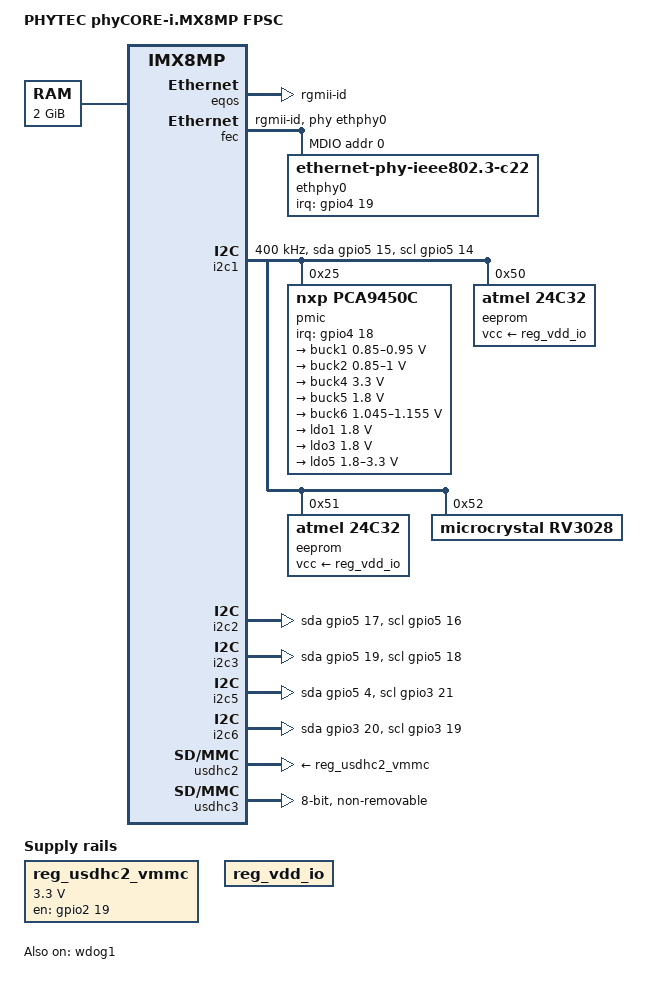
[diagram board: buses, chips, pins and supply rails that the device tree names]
// SPDX-License-Identifier: (GPL-2.0-or-later OR MIT)
/*
 * Copyright (C) 2025 PHYTEC Messtechnik GmbH
 */

#include <dt-bindings/net/ti-dp83867.h>
#include "imx8mp.dtsi"

/ {
	model = "PHYTEC phyCORE-i.MX8MP FPSC";
	compatible = "phytec,imx8mp-phycore-fpsc", "fsl,imx8mp";

	aliases {
		rtc0 = &rv3028;
		rtc1 = &snvs_rtc;
	};

	memory@40000000 {
		device_type = "memory";
		reg = <0x0 0x40000000 0x0 0x80000000>;
	};

	reg_usdhc2_vmmc: regulator-usdhc2 {
		 compatible = "regulator-fixed";
		 pinctrl-names = "default";
		 pinctrl-0 = <&pinctrl_reg_usdhc2_vmmc>;
		 regulator-name = "VDDSW_SD2";
		 regulator-min-microvolt = <3300000>;
		 regulator-max-microvolt = <3300000>;
		 gpio = <&gpio2 19 GPIO_ACTIVE_HIGH>;
		 enable-active-high;
		 startup-delay-us = <100>;
		 off-on-delay-us = <12000>;
	 };

	reg_vdd_io: regulator-vdd-io {
		compatible = "regulator-fixed";
		regulator-always-on;
		regulator-boot-on;
		regulator-name = "VDD_IO";
	};
};

&A53_0 {
	cpu-supply = <&buck2>;
};

&A53_1 {
	cpu-supply = <&buck2>;
};

&A53_2 {
	cpu-supply = <&buck2>;
};

&A53_3 {
	cpu-supply = <&buck2>;
};

&ecspi1 { /* SPI1 */
	pinctrl-names = "default";
	pinctrl-0 = <&pinctrl_ecspi1>;
};

&ecspi2 { /* SPI2 */
	pinctrl-names = "default";
	pinctrl-0 = <&pinctrl_ecspi2>;
};

&ecspi3 { /* SPI3 */
	pinctrl-names = "default";
	pinctrl-0 = <&pinctrl_ecspi3>;
};

&eqos { /* RGMII2 */
	pinctrl-names = "default";
	pinctrl-0 = <&pinctrl_eqos>;
	phy-mode = "rgmii-id";
};

&fec { /* GB_ETH1 */
	pinctrl-names = "default";
	pinctrl-0 = <&pinctrl_fec>;
	phy-handle = <&ethphy0>;
	phy-mode = "rgmii-id";
	fsl,magic-packet;
	status = "okay";

	mdio {
		#address-cells = <1>;
		#size-cells = <0>;

		ethphy0: ethernet-phy@0 {
			compatible = "ethernet-phy-ieee802.3-c22";
			reg = <0>;
			enet-phy-lane-no-swap;
			interrupt-parent = <&gpio4>;
			interrupts = <19 IRQ_TYPE_LEVEL_LOW>;
			ti,clk-output-sel = <DP83867_CLK_O_SEL_OFF>;
			ti,fifo-depth = <DP83867_PHYCR_FIFO_DEPTH_4_B_NIB>;
			ti,min-output-impedance;
			ti,rx-internal-delay = <DP83867_RGMIIDCTL_1_50_NS>;
			ti,tx-internal-delay = <DP83867_RGMIIDCTL_1_50_NS>;
		};
	};
};

&flexcan1 { /* CAN1 */
	pinctrl-names = "default";
	pinctrl-0 = <&pinctrl_flexcan1>;
};

&flexcan2 { /* CAN2 */
	pinctrl-names = "default";
	pinctrl-0 = <&pinctrl_flexcan2>;
};

&flexspi { /* QSPI */
	pinctrl-names = "default";
	pinctrl-0 = <&pinctrl_flexspi>;
};

&gpio1 {
	gpio-line-names = "", "", "", "", "",
			  "", "", "", "PCIE1_nPERST";
};

&gpio2 {
	gpio-line-names = "", "", "", "", "",
			  "", "", "", "", "",
			  "", "", "", "", "",
			  "", "", "", "", "SD2_RESET_B";
};

&gpio3 {
	gpio-line-names = "", "", "", "", "",
			  "", "", "", "", "",
			  "", "", "", "", "",
			  "", "", "", "", "I2C6_SCL",
			  "I2C6_SDA", "I2C5_SCL";
};

&gpio4 { /* GPIO */
	pinctrl-names = "default";
	pinctrl-0 = <&pinctrl_gpio4>;
	gpio-line-names = "GPIO6", "RGMII2_nINT", "GPIO7", "GPIO4", "",
			  "", "", "", "", "",
			  "", "", "", "", "",
			  "", "", "", "X_PMIC_IRQ_B", "",
			  "", "GPIO5", "", "", "RGMII2_EVENT_OUT",
			  "", "", "RGMII2_EVENT_IN";
};

&gpio5 { /* GPIO */
	pinctrl-names = "default";
	pinctrl-0 = <&pinctrl_gpio5>;
	gpio-line-names = "", "", "", "", "I2C5_SDA",
			  "GPIO1", "", "", "", "SPI1_CS",
			  "", "", "", "SPI2_CS", "I2C1_SCL",
			  "I2C1_SDA", "I2C2_SCL", "I2C2_SDA", "I2C3_SCL", "I2C3_SDA",
			  "", "GPIO2", "", "", "SPI3_CS",
			  "", "GPIO3";
};

&i2c1 { /* I2C1 */
	clock-frequency = <400000>;
	pinctrl-names = "default", "gpio";
	pinctrl-0 = <&pinctrl_i2c1>;
	pinctrl-1 = <&pinctrl_i2c1_gpio>;
	scl-gpios = <&gpio5 14 (GPIO_ACTIVE_HIGH | GPIO_OPEN_DRAIN)>;
	sda-gpios = <&gpio5 15 (GPIO_ACTIVE_HIGH | GPIO_OPEN_DRAIN)>;
	status = "okay";

	pmic: pmic@25 {
		compatible = "nxp,pca9450c";
		reg = <0x25>;
		interrupts = <18 IRQ_TYPE_LEVEL_LOW>;
		interrupt-parent = <&gpio4>;
		pinctrl-names = "default";
		pinctrl-0 = <&pinctrl_pmic>;

		regulators {
			buck1: BUCK1 {
				regulator-always-on;
				regulator-boot-on;
				regulator-max-microvolt = <950000>;
				regulator-min-microvolt = <850000>;
				regulator-name = "VDD_SOC (BUCK1)";
				regulator-ramp-delay = <3125>;
			};

			buck2: BUCK2 {
				regulator-always-on;
				regulator-boot-on;
				regulator-max-microvolt = <1000000>;
				regulator-min-microvolt = <850000>;
				regulator-name = "VDD_ARM (BUCK2)";
				regulator-ramp-delay = <3125>;
				nxp,dvs-run-voltage = <950000>;
				nxp,dvs-standby-voltage = <850000>;
			};

			buck4: BUCK4 {
				regulator-always-on;
				regulator-boot-on;
				regulator-max-microvolt = <3300000>;
				regulator-min-microvolt = <3300000>;
				regulator-name = "VDD_3V3 (BUCK4)";
			};

			buck5: BUCK5 {
				regulator-always-on;
				regulator-boot-on;
				regulator-max-microvolt = <1800000>;
				regulator-min-microvolt = <1800000>;
				regulator-name = "VDD_1V8 (BUCK5)";
			};

			buck6: BUCK6 {
				regulator-always-on;
				regulator-boot-on;
				regulator-max-microvolt = <1155000>;
				regulator-min-microvolt = <1045000>;
				regulator-name = "NVCC_DRAM_1V1 (BUCK6)";
			};

			ldo1: LDO1 {
				regulator-always-on;
				regulator-boot-on;
				regulator-max-microvolt = <1800000>;
				regulator-min-microvolt = <1800000>;
				regulator-name = "NVCC_SNVS_1V8 (LDO1)";
			};

			ldo3: LDO3 {
				regulator-always-on;
				regulator-boot-on;
				regulator-max-microvolt = <1800000>;
				regulator-min-microvolt = <1800000>;
				regulator-name = "VDDA_1V8 (LDO3)";
			};

			ldo5: LDO5 {
				regulator-always-on;
				regulator-boot-on;
				regulator-max-microvolt = <3300000>;
				regulator-min-microvolt = <1800000>;
				regulator-name = "NVCC_SD2 (LDO5)";
			};
		};
	};

	/* User EEPROM */
	eeprom@50 {
		compatible = "atmel,24c32";
		reg = <0x50>;
		pagesize = <32>;
		vcc-supply = <&reg_vdd_io>;
	};

	/* factory EEPROM */
	eeprom@51 {
		compatible = "atmel,24c32";
		read-only;
		reg = <0x51>;
		pagesize = <32>;
		vcc-supply = <&reg_vdd_io>;
	};

	rv3028: rtc@52 {
		compatible = "microcrystal,rv3028";
		reg = <0x52>;
	};
};

&i2c2 { /* I2C2 */
	pinctrl-names = "default", "gpio";
	pinctrl-0 = <&pinctrl_i2c2>;
	pinctrl-1 = <&pinctrl_i2c2_gpio>;
	sda-gpios = <&gpio5 17 (GPIO_ACTIVE_HIGH | GPIO_OPEN_DRAIN)>;
	scl-gpios = <&gpio5 16 (GPIO_ACTIVE_HIGH | GPIO_OPEN_DRAIN)>;
};

&i2c3 { /* I2C3 */
	pinctrl-names = "default", "gpio";
	pinctrl-0 = <&pinctrl_i2c3>;
	pinctrl-1 = <&pinctrl_i2c3_gpio>;
	sda-gpios = <&gpio5 19 (GPIO_ACTIVE_HIGH | GPIO_OPEN_DRAIN)>;
	scl-gpios = <&gpio5 18 (GPIO_ACTIVE_HIGH | GPIO_OPEN_DRAIN)>;
};

&i2c5 { /* I2C4 */
	pinctrl-names = "default", "gpio";
	pinctrl-0 = <&pinctrl_i2c5>;
	pinctrl-1 = <&pinctrl_i2c5_gpio>;
	sda-gpios = <&gpio5 4 (GPIO_ACTIVE_HIGH | GPIO_OPEN_DRAIN)>;
	scl-gpios = <&gpio3 21 (GPIO_ACTIVE_HIGH | GPIO_OPEN_DRAIN)>;
};

&i2c6 { /* I2C5 */
	pinctrl-names = "default", "gpio";
	pinctrl-0 = <&pinctrl_i2c6>;
	pinctrl-1 = <&pinctrl_i2c6_gpio>;
	sda-gpios = <&gpio3 20 (GPIO_ACTIVE_HIGH | GPIO_OPEN_DRAIN)>;
	scl-gpios = <&gpio3 19 (GPIO_ACTIVE_HIGH | GPIO_OPEN_DRAIN)>;
};

&pcie { /* PCIE1 */
	pinctrl-names = "default";
	pinctrl-0 = <&pinctrl_pcie0>;
};

&pwm1 { /* PWM1 */
	pinctrl-names = "default";
	pinctrl-0 = <&pinctrl_pwm1>;
};

&pwm2 { /* PWM2 */
	pinctrl-names = "default";
	pinctrl-0 = <&pinctrl_pwm2>;
};

&pwm3 { /* PWM3 */
	pinctrl-names = "default";
	pinctrl-0 = <&pinctrl_pwm3>;
};

&pwm4 { /* PWM4 */
	pinctrl-names = "default";
	pinctrl-0 = <&pinctrl_pwm4>;
};

&sai5 { /* SAI1 */
	pinctrl-names = "default";
	pinctrl-0 = <&pinctrl_sai5>;
};

&uart2 { /* UART2 */
	pinctrl-names = "default";
	fsl,dte-mode;
	pinctrl-0 = <&pinctrl_uart2>;
};

&uart3 { /* UART1 */
	pinctrl-names = "default";
	fsl,dte-mode;
	pinctrl-0 = <&pinctrl_uart3>;
};

&uart4 { /* UART3 */
	pinctrl-names = "default";
	pinctrl-0 = <&pinctrl_uart4>;
};

&usb3_0 { /* USB1 */
	pinctrl-names = "default";
	pinctrl-0 = <&pinctrl_usb0>;
};

&usb3_1 { /* USB2 */
	pinctrl-names = "default";
	pinctrl-0 = <&pinctrl_usb1>;
};

&usdhc1 { /* SDIO */
	pinctrl-names = "default";
	pinctrl-0 = <&pinctrl_usdhc1>;
};

&usdhc2 { /* SDCARD */
	pinctrl-names = "default", "state_100mhz", "state_200mhz";
	pinctrl-0 = <&pinctrl_usdhc2>;
	pinctrl-1 = <&pinctrl_usdhc2_100mhz>;
	pinctrl-2 = <&pinctrl_usdhc2_200mhz>;
	sd-uhs-sdr104;
	vmmc-supply = <&reg_usdhc2_vmmc>;
	vqmmc-supply = <&ldo5>;
};

/* eMMC */
&usdhc3 {
	assigned-clocks = <&clk IMX8MP_CLK_USDHC3_ROOT>;
	assigned-clock-rates = <400000000>;
	pinctrl-names = "default", "state_100mhz", "state_200mhz";
	pinctrl-0 = <&pinctrl_usdhc3>;
	pinctrl-1 = <&pinctrl_usdhc3_100mhz>;
	pinctrl-2 = <&pinctrl_usdhc3_200mhz>;
	bus-width = <8>;
	non-removable;
	status = "okay";
};

&wdog1 {
	pinctrl-names = "default";
	pinctrl-0 = <&pinctrl_wdog>;
	fsl,ext-reset-output;
	status = "okay";
};

&iomuxc {
	pinctrl_ecspi1: spi1grp {
		fsl,pins = <
			MX8MP_IOMUXC_ECSPI1_SCLK__ECSPI1_SCLK	0x82	/* SPI1_SCLK */
			MX8MP_IOMUXC_ECSPI1_MOSI__ECSPI1_MOSI	0x82	/* SPI1_MOSI */
			MX8MP_IOMUXC_ECSPI1_MISO__ECSPI1_MISO	0x82	/* SPI1_MISO */
			MX8MP_IOMUXC_ECSPI1_SS0__GPIO5_IO09	0x106	/* SPI1_CS */
		>;
	};

	pinctrl_ecspi2: spi2grp {
		fsl,pins = <
			MX8MP_IOMUXC_ECSPI2_SCLK__ECSPI2_SCLK	0x82	/* SPI2_SCLK */
			MX8MP_IOMUXC_ECSPI2_MOSI__ECSPI2_MOSI	0x82	/* SPI2_MOSI */
			MX8MP_IOMUXC_ECSPI2_MISO__ECSPI2_MISO	0x82	/* SPI2_MISO */
			MX8MP_IOMUXC_ECSPI2_SS0__GPIO5_IO13	0x106     /* SPI2_CS */
		>;
	};

	pinctrl_ecspi3: spi3grp {
		fsl,pins = <
			MX8MP_IOMUXC_UART1_RXD__ECSPI3_SCLK	0x82	/* SPI3_SCLK */
			MX8MP_IOMUXC_UART1_TXD__ECSPI3_MOSI	0x82	/* SPI3_MOSI */
			MX8MP_IOMUXC_UART2_RXD__ECSPI3_MISO	0x82	/* SPI3_MISO */
			MX8MP_IOMUXC_UART2_RXD__GPIO5_IO24	0x106     /* SPI3_CS */
		>;
	};

	pinctrl_eqos: eqosgrp {
		fsl,pins = <
			MX8MP_IOMUXC_SAI1_RXC__GPIO4_IO01				0x10	/* RGMII2_nINT */
			MX8MP_IOMUXC_SAI2_MCLK__GPIO4_IO27				0x10	/* RGMII2_EVENT_IN */
			MX8MP_IOMUXC_SAI2_TXFS__GPIO4_IO24				0x10	/* RGMII2_EVENT_OUT */
			MX8MP_IOMUXC_ENET_MDIO__ENET_QOS_MDIO				0x2	/* RGMII2_MDIO */
			MX8MP_IOMUXC_ENET_MDC__ENET_QOS_MDC				0x2	/* RGMII2_MDC */
			MX8MP_IOMUXC_ENET_TD3__ENET_QOS_RGMII_TD3			0x12	/* RGMII2_TX_D3 */
			MX8MP_IOMUXC_ENET_TD2__ENET_QOS_RGMII_TD2			0x12	/* RGMII2_TX_D2 */
			MX8MP_IOMUXC_ENET_TD1__ENET_QOS_RGMII_TD1			0x12	/* RGMII2_TX_D1 */
			MX8MP_IOMUXC_ENET_TD0__ENET_QOS_RGMII_TD0			0x12	/* RGMII2_TX_D0 */
			MX8MP_IOMUXC_ENET_TX_CTL__ENET_QOS_RGMII_TX_CTL			0x12	/* RGMII2_TX_CTL */
			MX8MP_IOMUXC_ENET_TXC__CCM_ENET_QOS_CLOCK_GENERATE_TX_CLK	0x12	/* RGMII2_TXC */
			MX8MP_IOMUXC_ENET_RD3__ENET_QOS_RGMII_RD3			0x90	/* RGMII2_RX_D3 */
			MX8MP_IOMUXC_ENET_RD2__ENET_QOS_RGMII_RD2			0x90	/* RGMII2_RX_D2 */
			MX8MP_IOMUXC_ENET_RD1__ENET_QOS_RGMII_RD1			0x90	/* RGMII2_RX_D1 */
			MX8MP_IOMUXC_ENET_RD0__ENET_QOS_RGMII_RD0			0x90	/* RGMII2_RX_D0 */
			MX8MP_IOMUXC_ENET_RX_CTL__ENET_QOS_RGMII_RX_CTL			0x90	/* RGMII2_RX_CTL */
			MX8MP_IOMUXC_ENET_RXC__CCM_ENET_QOS_CLOCK_GENERATE_RX_CLK	0x90	/* RGMII2_RXC */
		>;
	};

	pinctrl_fec: fecgrp {
		fsl,pins = <
			MX8MP_IOMUXC_SAI1_RXD2__ENET1_MDC		0x2
			MX8MP_IOMUXC_SAI1_RXD3__ENET1_MDIO		0x2
			MX8MP_IOMUXC_SAI1_RXD4__ENET1_RGMII_RD0		0x90
			MX8MP_IOMUXC_SAI1_RXD5__ENET1_RGMII_RD1		0x90
			MX8MP_IOMUXC_SAI1_RXD6__ENET1_RGMII_RD2		0x90
			MX8MP_IOMUXC_SAI1_RXD7__ENET1_RGMII_RD3		0x90
			MX8MP_IOMUXC_SAI1_TXD7__GPIO4_IO19		0x140
			MX8MP_IOMUXC_SAI1_TXC__ENET1_RGMII_RXC		0x90
			MX8MP_IOMUXC_SAI1_TXD0__ENET1_RGMII_TD0		0x12
			MX8MP_IOMUXC_SAI1_TXD1__ENET1_RGMII_TD1		0x12
			MX8MP_IOMUXC_SAI1_TXD2__ENET1_RGMII_TD2		0x14
			MX8MP_IOMUXC_SAI1_TXD3__ENET1_RGMII_TD3		0x14
			MX8MP_IOMUXC_SAI1_TXD4__ENET1_RGMII_TX_CTL	0x14
			MX8MP_IOMUXC_SAI1_TXD5__ENET1_RGMII_TXC		0x14
			MX8MP_IOMUXC_SAI1_TXFS__ENET1_RGMII_RX_CTL	0x90
		>;
	};

	pinctrl_flexcan1: can1grp {
		fsl,pins = <
			MX8MP_IOMUXC_SAI2_RXC__CAN1_TX		0x154	/* CAN1_TX */
			MX8MP_IOMUXC_SAI2_TXC__CAN1_RX		0x154	/* CAN1_RX */
		>;
	};

	pinctrl_flexcan2: can2grp {
		fsl,pins = <
			MX8MP_IOMUXC_SAI2_TXD0__CAN2_TX		0x154	/* CAN2_TX */
			MX8MP_IOMUXC_UART3_TXD__CAN2_RX		0x154	/* CAN2_RX */
		>;
	};

	pinctrl_flexspi: flexspigrp {
		fsl,pins = <
			MX8MP_IOMUXC_NAND_CE0_B__FLEXSPI_A_SS0_B	0x82	/* QSPI_CE */
			MX8MP_IOMUXC_NAND_ALE__FLEXSPI_A_SCLK		0x1c2	/* QSPI_CLK */
			MX8MP_IOMUXC_NAND_DATA00__FLEXSPI_A_DATA00	0x82	/* QSPI_DATA_0 */
			MX8MP_IOMUXC_NAND_DATA01__FLEXSPI_A_DATA01	0x82	/* QSPI_DATA_1 */
			MX8MP_IOMUXC_NAND_DATA02__FLEXSPI_A_DATA02	0x82	/* QSPI_DATA_2 */
			MX8MP_IOMUXC_NAND_DATA03__FLEXSPI_A_DATA03	0x82	/* QSPI_DATA_3 */
			MX8MP_IOMUXC_NAND_DQS__FLEXSPI_A_DQS		0x82	/* QSPI_DQS */
		>;
	};

	pinctrl_gpio4: gpio4grp {
		fsl,pins = <
			MX8MP_IOMUXC_SAI1_RXD1__GPIO4_IO03	0x40	/* GPIO4 */
			MX8MP_IOMUXC_SAI2_RXFS__GPIO4_IO21	0x106	/* GPIO5 */
			MX8MP_IOMUXC_SAI1_RXFS__GPIO4_IO00	0x106	/* GPIO6 */
			MX8MP_IOMUXC_SAI1_RXD0__GPIO4_IO02	0x106	/* GPIO7 */
		>;
	};

	pinctrl_gpio5: gpio5grp {
		fsl,pins = <
			MX8MP_IOMUXC_SPDIF_EXT_CLK__GPIO5_IO05	0x106	/* GPIO1 */
			MX8MP_IOMUXC_I2C4_SDA__GPIO5_IO21	0x106	/* GPIO2 */
			MX8MP_IOMUXC_UART3_RXD__GPIO5_IO26	0x106	/* GPIO3 */
		>;
	};

	pinctrl_hdmi: hdmigrp {
		fsl,pins = <
			MX8MP_IOMUXC_HDMI_CEC__HDMIMIX_HDMI_CEC		0x106	/* HDMI_CEC */
			MX8MP_IOMUXC_HDMI_DDC_SCL__HDMIMIX_HDMI_SCL	0x106	/* HDMI_SCL */
			MX8MP_IOMUXC_HDMI_DDC_SDA__HDMIMIX_HDMI_SDA	0x106	/* HDMI_SDA */
			MX8MP_IOMUXC_HDMI_HPD__HDMIMIX_HDMI_HPD		0x106	/* HDMI_HPD */
		>;
	};

	pinctrl_i2c1: i2c1grp {
		fsl,pins = <
			MX8MP_IOMUXC_I2C1_SDA__I2C1_SDA		0x400001c2	/* I2C1_SDA_DNU */
			MX8MP_IOMUXC_I2C1_SCL__I2C1_SCL		0x400001c2	/* I2C1_SCL_DNU */
		>;
	};

	pinctrl_i2c1_gpio: i2c1gpiogrp {
		fsl,pins = <
			MX8MP_IOMUXC_I2C1_SDA__GPIO5_IO15	0x1e2
			MX8MP_IOMUXC_I2C1_SCL__GPIO5_IO14	0x1e2
		>;
	};

	pinctrl_i2c2: i2c2grp {
		fsl,pins = <
			MX8MP_IOMUXC_I2C2_SDA__I2C2_SDA		0x400001c2	/* I2C2_SDA */
			MX8MP_IOMUXC_I2C2_SCL__I2C2_SCL		0x400001c2	/* I2C2_SCL */
		>;
	};

	pinctrl_i2c2_gpio: i2c2gpiogrp {
		fsl,pins = <
			MX8MP_IOMUXC_I2C2_SDA__GPIO5_IO17	0x1e2
			MX8MP_IOMUXC_I2C2_SCL__GPIO5_IO16	0x1e2
		>;
	};

	pinctrl_i2c3: i2c3grp {
		fsl,pins = <
			MX8MP_IOMUXC_I2C3_SDA__I2C3_SDA		0x400001c2	/* I2C3_SDA */
			MX8MP_IOMUXC_I2C3_SCL__I2C3_SCL		0x400001c2	/* I2C3_SCL */
		>;
	};

	pinctrl_i2c3_gpio: i2c3gpiogrp {
		fsl,pins = <
			MX8MP_IOMUXC_I2C3_SDA__GPIO5_IO19	0x1e2
			MX8MP_IOMUXC_I2C3_SCL__GPIO5_IO18	0x1e2
		>;
	};

	pinctrl_i2c5: i2c5grp {
		fsl,pins = <
			MX8MP_IOMUXC_SPDIF_RX__I2C5_SDA		0x400001c2	/* I2C4_SDA */
			MX8MP_IOMUXC_SAI5_RXD0__I2C5_SCL	0x400001c2	/* I2C4_SCL */
		>;
	};

	pinctrl_i2c5_gpio: i2c5gpiogrp {
		fsl,pins = <
			MX8MP_IOMUXC_SPDIF_RX__GPIO5_IO04	0x1e2
			MX8MP_IOMUXC_SAI5_RXD0__GPIO3_IO21	0x1e2
		>;
	};

	pinctrl_i2c6: i2c6grp {
		fsl,pins = <
			MX8MP_IOMUXC_SAI5_RXC__I2C6_SDA		0x400001c2	/* I2C5_SDA */
			MX8MP_IOMUXC_SAI5_RXFS__I2C6_SCL	0x400001c2	/* I2C5_SCL */
		>;
	};

	pinctrl_i2c6_gpio: i2c6gpiogrp {
		fsl,pins = <
			MX8MP_IOMUXC_SAI5_RXC__GPIO3_IO20	0x1e2
			MX8MP_IOMUXC_SAI5_RXFS__GPIO3_IO19	0x1e2
		>;
	};

	pinctrl_pcie0: pcie0grp {
		fsl,pins = <
			MX8MP_IOMUXC_I2C4_SCL__PCIE_CLKREQ_B	0x10	/* PCIE1_nCLKREQ */
			MX8MP_IOMUXC_GPIO1_IO08__GPIO1_IO08     0x40	/* PCIE1_nPERST */
		>;
	};

	pinctrl_pmic: pmicirqgrp {
		fsl,pins = <
			MX8MP_IOMUXC_SAI1_TXD6__GPIO4_IO18	0x140
		>;
	};

	pinctrl_pwm1: pwm1grp {
		fsl,pins = <
			MX8MP_IOMUXC_GPIO1_IO01__PWM1_OUT	0x106	/* PWM1 */
		>;
	};

	pinctrl_pwm2: pwm2grp {
		fsl,pins = <
			MX8MP_IOMUXC_GPIO1_IO09__PWM2_OUT	0x106	/* PWM2 */
		>;
	};

	pinctrl_pwm3: pwm3grp {
		fsl,pins = <
			MX8MP_IOMUXC_SPDIF_TX__PWM3_OUT		0x106	/* PWM3 */
		>;
	};

	pinctrl_pwm4: pwm4grp {
		fsl,pins = <
			MX8MP_IOMUXC_SAI3_MCLK__PWM4_OUT	0x106	/* PWM4 */
		>;
	};

	pinctrl_reg_usdhc2_vmmc: regusdhc2vmmcgrp {
		fsl,pins = <
			MX8MP_IOMUXC_SD2_RESET_B__GPIO2_IO19    0x40
		>;
	};

	pinctrl_sai5: sai5grp {
		fsl,pins = <
			MX8MP_IOMUXC_SAI5_MCLK__AUDIOMIX_SAI5_MCLK	0x106	/* SAI1_MCLK */
			MX8MP_IOMUXC_SAI3_RXFS__AUDIOMIX_SAI5_RX_SYNC	0x106	/* SAI1_RX_SYNC */
			MX8MP_IOMUXC_SAI3_RXC__AUDIOMIX_SAI5_RX_BCLK	0x106	/* SAI1_RX_BCLK */
			MX8MP_IOMUXC_SAI3_RXD__AUDIOMIX_SAI5_RX_DATA00	0x106	/* SAI1_RX_DATA */
			MX8MP_IOMUXC_SAI5_RXD1__AUDIOMIX_SAI5_TX_SYNC	0x106	/* SAI1_TX_SYNC */
			MX8MP_IOMUXC_SAI5_RXD2__AUDIOMIX_SAI5_TX_BCLK	0x106	/* SAI1_TX_BCLK */
			MX8MP_IOMUXC_SAI2_RXD0__AUDIOMIX_SAI5_TX_DATA00	0x106	/* SAI1_TX_DATA */
		>;
	};

	pinctrl_uart2: uart2grp {
		fsl,pins = <
			MX8MP_IOMUXC_SAI3_TXC__UART2_DTE_RX	0x140	/* UART2_RXD */
			MX8MP_IOMUXC_SAI3_TXFS__UART2_DTE_TX	0x140	/* UART2_TXD */
			MX8MP_IOMUXC_SD1_DATA5__UART2_DTE_RTS	0x140	/* UART2_RTS */
			MX8MP_IOMUXC_SD1_DATA4__UART2_DTE_CTS	0x140	/* UART2_CTS */
		>;
	};

	pinctrl_uart3: uart3grp {
		fsl,pins = <
			MX8MP_IOMUXC_SD1_DATA6__UART3_DTE_RX	0x140	/* UART1_RXD */
			MX8MP_IOMUXC_SD1_DATA7__UART3_DTE_TX	0x140	/* UART1_TXD */
			MX8MP_IOMUXC_SD1_STROBE__UART3_DTE_RTS	0x140	/* UART1_RTS */
			MX8MP_IOMUXC_SD1_RESET_B__UART3_DTE_CTS	0x140	/* UART1_CTS */
		>;
	};

	pinctrl_uart4: uart4grp {
		fsl,pins = <
			MX8MP_IOMUXC_UART4_RXD__UART4_DCE_RX	0x140	/* UART3_RXD */
			MX8MP_IOMUXC_UART4_TXD__UART4_DCE_TX	0x140	/* UART3_TXD */
		>;
	};

	pinctrl_usb0: usb0grp {
		fsl,pins = <
			MX8MP_IOMUXC_GPIO1_IO12__USB1_OTG_PWR	0x106	/* USB1_PWR_EN */
			MX8MP_IOMUXC_GPIO1_IO13__USB1_OTG_OC	0x106	/* USB1_OC */
			MX8MP_IOMUXC_GPIO1_IO10__USB1_OTG_ID	0x106	/* USB1_ID */
		>;
	};

	pinctrl_usb1: usb1grp {
		fsl,pins = <
			MX8MP_IOMUXC_GPIO1_IO14__USB2_OTG_PWR	0x106	/* USB2_PWR_EN */
			MX8MP_IOMUXC_GPIO1_IO15__USB2_OTG_OC	0x106	/* USB2_OC */
			MX8MP_IOMUXC_GPIO1_IO11__USB2_OTG_ID	0x106	/* USB2_ID */
		>;
	};

	pinctrl_usdhc1: usdhc1grp {
		fsl,pins = <
			MX8MP_IOMUXC_GPIO1_IO07__USDHC1_WP	0x106	/* SDIO_WP */
			MX8MP_IOMUXC_GPIO1_IO06__USDHC1_CD_B	0x106	/* SDIO_CD */
			MX8MP_IOMUXC_SD1_CLK__USDHC1_CLK	0x106	/* SDIO_CLK */
			MX8MP_IOMUXC_SD1_CMD__USDHC1_CMD	0x106	/* SDIO_CLK */
			MX8MP_IOMUXC_SD1_DATA0__USDHC1_DATA0	0x106	/* SDIO_DATA0 */
			MX8MP_IOMUXC_SD1_DATA1__USDHC1_DATA1	0x106	/* SDIO_DATA1 */
			MX8MP_IOMUXC_SD1_DATA2__USDHC1_DATA2	0x106	/* SDIO_DATA2 */
			MX8MP_IOMUXC_SD1_DATA3__USDHC1_DATA3	0x106	/* SDIO_DATA3 */
		>;
	};

	pinctrl_usdhc2: usdhc2grp {
		fsl,pins = <
			MX8MP_IOMUXC_SD2_CD_B__USDHC2_CD_B	0x40	/* SDCARD_CD */
			MX8MP_IOMUXC_SD2_WP__USDHC2_WP		0x40	/* SDCARD_WP */
			MX8MP_IOMUXC_SD2_CLK__USDHC2_CLK	0x190	/* SDCARD_CLK */
			MX8MP_IOMUXC_SD2_CMD__USDHC2_CMD	0x1d0	/* SDCARD_CMD */
			MX8MP_IOMUXC_SD2_DATA0__USDHC2_DATA0	0x1d0	/* SDCARD_DATA0 */
			MX8MP_IOMUXC_SD2_DATA1__USDHC2_DATA1	0x1d0	/* SDCARD_DATA1 */
			MX8MP_IOMUXC_SD2_DATA2__USDHC2_DATA2	0x1d0	/* SDCARD_DATA2 */
			MX8MP_IOMUXC_SD2_DATA3__USDHC2_DATA3	0x1d0	/* SDCARD_DATA3 */
			MX8MP_IOMUXC_GPIO1_IO04__USDHC2_VSELECT	0xc0
		>;
	};

	pinctrl_usdhc2_100mhz: usdhc2-100mhzgrp {
		fsl,pins = <
			MX8MP_IOMUXC_SD2_CD_B__USDHC2_CD_B	0x40	/* SDCARD_CD */
			MX8MP_IOMUXC_SD2_WP__USDHC2_WP		0x40	/* SDCARD_WP */
			MX8MP_IOMUXC_SD2_CLK__USDHC2_CLK	0x194	/* SDCARD_CLK */
			MX8MP_IOMUXC_SD2_CMD__USDHC2_CMD	0x1d4	/* SDCARD_CMD */
			MX8MP_IOMUXC_SD2_DATA0__USDHC2_DATA0	0x1d4	/* SDCARD_DATA0 */
			MX8MP_IOMUXC_SD2_DATA1__USDHC2_DATA1	0x1d4	/* SDCARD_DATA1 */
			MX8MP_IOMUXC_SD2_DATA2__USDHC2_DATA2	0x1d4	/* SDCARD_DATA2 */
			MX8MP_IOMUXC_SD2_DATA3__USDHC2_DATA3	0x1d4	/* SDCARD_DATA3 */
			MX8MP_IOMUXC_GPIO1_IO04__USDHC2_VSELECT	0xc0
		>;
	};

	pinctrl_usdhc2_200mhz: usdhc2-200mhzgrp {
		fsl,pins = <
			MX8MP_IOMUXC_SD2_CD_B__USDHC2_CD_B	0x40	/* SDCARD_CD */
			MX8MP_IOMUXC_SD2_WP__USDHC2_WP		0x40	/* SDCARD_WP */
			MX8MP_IOMUXC_SD2_CLK__USDHC2_CLK	0x196	/* SDCARD_CLK */
			MX8MP_IOMUXC_SD2_CMD__USDHC2_CMD	0x1d6	/* SDCARD_CMD */
			MX8MP_IOMUXC_SD2_DATA0__USDHC2_DATA0	0x1d6	/* SDCARD_DATA0 */
			MX8MP_IOMUXC_SD2_DATA1__USDHC2_DATA1	0x1d6	/* SDCARD_DATA1 */
			MX8MP_IOMUXC_SD2_DATA2__USDHC2_DATA2	0x1d6	/* SDCARD_DATA2 */
			MX8MP_IOMUXC_SD2_DATA3__USDHC2_DATA3	0x1d6	/* SDCARD_DATA3 */
			MX8MP_IOMUXC_GPIO1_IO04__USDHC2_VSELECT	0xc0
		>;
	};

	pinctrl_usdhc3: usdhc3grp {
		fsl,pins = <
			MX8MP_IOMUXC_NAND_CE1_B__USDHC3_STROBE	0x190
			MX8MP_IOMUXC_NAND_CE2_B__USDHC3_DATA5	0x1d0
			MX8MP_IOMUXC_NAND_CE3_B__USDHC3_DATA6	0x1d0
			MX8MP_IOMUXC_NAND_CLE__USDHC3_DATA7	0x1d0
			MX8MP_IOMUXC_NAND_DATA04__USDHC3_DATA0	0x1d0
			MX8MP_IOMUXC_NAND_DATA05__USDHC3_DATA1	0x1d0
			MX8MP_IOMUXC_NAND_DATA06__USDHC3_DATA2	0x1d0
			MX8MP_IOMUXC_NAND_DATA07__USDHC3_DATA3	0x1d0
			MX8MP_IOMUXC_NAND_RE_B__USDHC3_DATA4	0x1d0
			MX8MP_IOMUXC_NAND_WE_B__USDHC3_CLK	0x190
			MX8MP_IOMUXC_NAND_WP_B__USDHC3_CMD	0x1d0
		>;
	};

	pinctrl_usdhc3_100mhz: usdhc3-100mhzgrp {
		fsl,pins = <
			MX8MP_IOMUXC_NAND_CE1_B__USDHC3_STROBE	0x194
			MX8MP_IOMUXC_NAND_CE2_B__USDHC3_DATA5	0x1d4
			MX8MP_IOMUXC_NAND_CE3_B__USDHC3_DATA6	0x1d4
			MX8MP_IOMUXC_NAND_CLE__USDHC3_DATA7	0x1d4
			MX8MP_IOMUXC_NAND_DATA04__USDHC3_DATA0	0x1d4
			MX8MP_IOMUXC_NAND_DATA05__USDHC3_DATA1	0x1d4
			MX8MP_IOMUXC_NAND_DATA06__USDHC3_DATA2	0x1d4
			MX8MP_IOMUXC_NAND_DATA07__USDHC3_DATA3	0x1d4
			MX8MP_IOMUXC_NAND_RE_B__USDHC3_DATA4	0x1d4
			MX8MP_IOMUXC_NAND_WE_B__USDHC3_CLK	0x194
			MX8MP_IOMUXC_NAND_WP_B__USDHC3_CMD	0x1d4
		>;
	};

	pinctrl_usdhc3_200mhz: usdhc3-200mhzgrp {
		fsl,pins = <
			MX8MP_IOMUXC_NAND_CE1_B__USDHC3_STROBE	0x196
			MX8MP_IOMUXC_NAND_CE2_B__USDHC3_DATA5	0x1d2
			MX8MP_IOMUXC_NAND_CE3_B__USDHC3_DATA6	0x1d2
			MX8MP_IOMUXC_NAND_CLE__USDHC3_DATA7	0x1d2
			MX8MP_IOMUXC_NAND_DATA04__USDHC3_DATA0	0x1d2
			MX8MP_IOMUXC_NAND_DATA05__USDHC3_DATA1	0x1d2
			MX8MP_IOMUXC_NAND_DATA06__USDHC3_DATA2	0x1d2
			MX8MP_IOMUXC_NAND_DATA07__USDHC3_DATA3	0x1d2
			MX8MP_IOMUXC_NAND_RE_B__USDHC3_DATA4	0x1d2
			MX8MP_IOMUXC_NAND_WE_B__USDHC3_CLK	0x196
			MX8MP_IOMUXC_NAND_WP_B__USDHC3_CMD	0x1d6
		>;
	};

	pinctrl_wdog: wdoggrp {
		fsl,pins = <
			MX8MP_IOMUXC_GPIO1_IO02__WDOG1_WDOG_B	0xe6
		>;
	};
};
